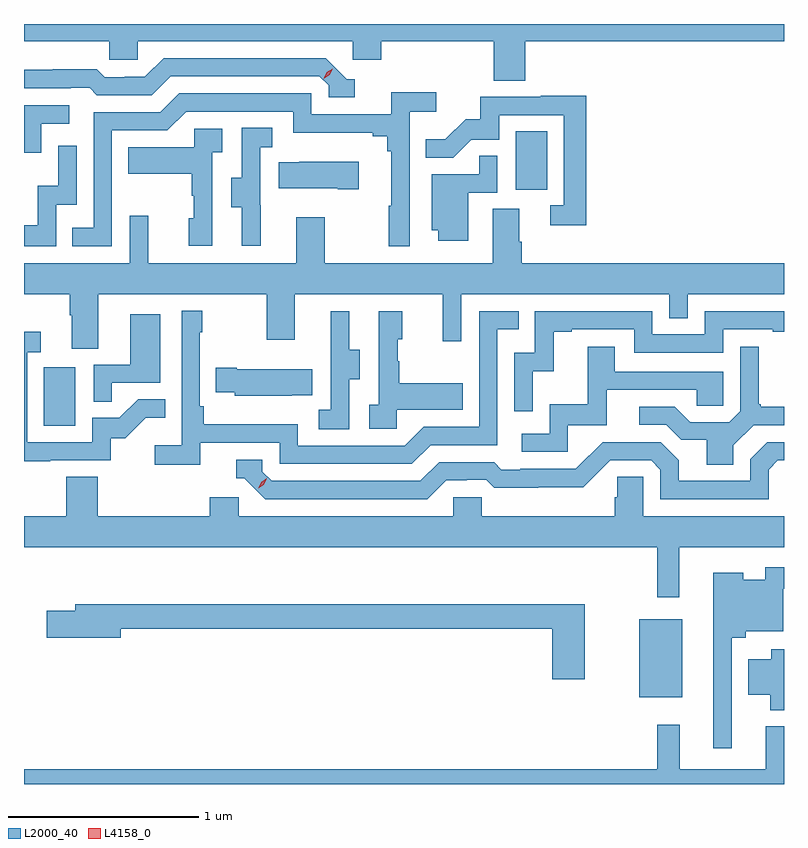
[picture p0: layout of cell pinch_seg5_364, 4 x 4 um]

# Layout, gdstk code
import gdstk
lib = gdstk.Library(unit=1e-6, precision=1e-09)
def R(c, l, rs):  # rectangles x0, y0, x1, y1
    for r in rs: c.add(gdstk.rectangle(r[:2], r[2:], *l))
def P(c, l, *ps):  # polygons
    for p in ps: c.add(gdstk.Polygon(p, *l))
L2000_40 = (2000, 40)
L4158_0 = (4158, 0)

pinch_seg5_364 = lib.new_cell('pinch_seg5_364')
R(pinch_seg5_364, L2000_40, [(1014.716,878.615,1014.943,879.025), (1011.584,880.044,1011.748,880.351), (1014.068,881.286,1014.232,881.593)])
P(pinch_seg5_364, L2000_40, [(1014.116,882.068),(1015.479,882.068),(1015.479,882.158),(1011.479,882.158),(1011.479,882.068),(1011.927,882.068),(1011.927,881.97),(1012.077,881.97),(1012.077,882.068),(1013.208,882.068),(1013.208,881.97),(1013.36,881.97),(1013.36,882.068),(1013.951,882.068),(1013.951,881.86),(1014.116,881.86)],
  [(1013.221,881.868),(1013.178,881.868),(1013.067,881.979),(1012.214,881.979),(1012.115,881.88),(1012.008,881.88),(1012.008,881.877),(1011.905,881.877),(1011.863,881.92),(1011.63,881.92),(1011.63,881.917),(1011.479,881.917),(1011.479,881.82),(1011.725,881.82),(1011.725,881.823),(1011.824,881.823),(1011.863,881.784),(1012.152,881.784),(1012.251,881.883),(1013.034,881.883),(1013.082,881.835),(1013.082,881.772),(1013.221,881.772)],
  [(1011.942,881.598),(1012.233,881.598),(1012.332,881.697),(1012.896,881.697),(1012.896,881.585),(1013.315,881.585),(1013.315,881.566),(1013.392,881.566),(1013.392,881.489),(1013.411,881.489),(1013.411,881.201),(1013.4,881.201),(1013.4,880.989),(1013.508,880.989),(1013.508,881.696),(1013.65,881.696),(1013.65,881.798),(1013.411,881.798),(1013.411,881.682),(1012.992,881.682),(1012.992,881.793),(1012.295,881.793),(1012.196,881.694),(1011.846,881.694),(1011.846,881.085),(1011.733,881.085),(1011.733,880.989),(1011.942,880.989)],
  [(1014.437,881.78),(1014.199,881.78),(1014.199,881.775),(1013.881,881.775),(1013.881,881.658),(1013.804,881.658),(1013.697,881.551),(1013.593,881.551),(1013.593,881.453),(1013.737,881.453),(1013.834,881.55),(1013.979,881.55),(1013.979,881.679),(1014.321,881.679),(1014.321,881.205),(1014.249,881.205),(1014.249,881.1),(1014.437,881.1)],
  [(1011.57,881.634),(1011.718,881.634),(1011.718,881.73),(1011.479,881.73),(1011.479,881.481),(1011.57,881.481)],
  [(1012.724,881.205),(1012.722,881.205),(1012.722,881.509),(1012.786,881.509),(1012.786,881.612),(1012.626,881.612),(1012.626,881.349),(1012.571,881.349),(1012.571,881.194),(1012.625,881.194),(1012.625,880.992),(1012.724,880.992)],
  [(1012.47,881.483),(1012.522,881.483),(1012.522,881.607),(1012.374,881.607),(1012.374,881.509),(1012.027,881.509),(1012.027,881.369),(1012.362,881.369),(1012.362,881.255),(1012.372,881.255),(1012.372,881.136),(1012.346,881.136),(1012.346,880.992),(1012.47,880.992)],
  [(1011.648,881.208),(1011.756,881.208),(1011.756,881.518),(1011.66,881.518),(1011.66,881.306),(1011.551,881.306),(1011.551,881.098),(1011.479,881.098),(1011.479,880.989),(1011.648,880.989)],
  [(1013.818,881.271),(1013.97,881.271),(1013.97,881.465),(1013.875,881.465),(1013.875,881.367),(1013.624,881.367),(1013.624,881.072),(1013.66,881.072),(1013.66,881.016),(1013.818,881.016)],
  [(1013.242,881.434),(1012.927,881.434),(1012.927,881.431),(1012.819,881.431),(1012.819,881.294),(1013.129,881.294),(1013.129,881.287),(1013.242,881.287)],
  [(1011.871,880.736),(1012.756,880.736),(1012.756,880.497),(1012.903,880.497),(1012.903,880.736),(1013.684,880.736),(1013.684,880.488),(1013.781,880.488),(1013.781,880.736),(1014.876,880.736),(1014.876,880.609),(1014.972,880.609),(1014.972,880.736),(1015.479,880.736),(1015.479,880.9),(1014.098,880.9),(1014.098,881.012),(1014.085,881.012),(1014.085,881.186),(1013.945,881.186),(1013.945,880.9),(1013.061,880.9),(1013.061,881.14),(1012.913,881.14),(1012.913,880.9),(1012.133,880.9),(1012.133,881.149),(1012.035,881.149),(1012.035,880.9),(1011.479,880.9),(1011.479,880.736),(1011.719,880.736),(1011.719,880.624),(1011.731,880.624),(1011.731,880.45),(1011.871,880.45)],
  [(1012.406,879.954),(1012.824,879.954),(1012.824,879.843),(1013.521,879.843),(1013.62,879.942),(1013.97,879.942),(1013.97,880.551),(1014.083,880.551),(1014.083,880.647),(1013.874,880.647),(1013.874,880.038),(1013.583,880.038),(1013.484,879.939),(1012.92,879.939),(1012.92,880.051),(1012.424,880.051),(1012.424,880.147),(1012.404,880.147),(1012.404,880.535),(1012.417,880.535),(1012.417,880.648),(1012.308,880.648),(1012.308,879.94),(1012.167,879.94),(1012.167,879.838),(1012.406,879.838)],
  [(1014.156,880.331),(1014.266,880.331),(1014.266,880.539),(1014.361,880.539),(1014.361,880.551),(1014.69,880.551),(1014.69,880.428),(1015.158,880.428),(1015.158,880.551),(1015.421,880.551),(1015.421,880.539),(1015.479,880.539),(1015.479,880.647),(1015.062,880.647),(1015.062,880.524),(1014.786,880.524),(1014.786,880.647),(1014.168,880.647),(1014.168,880.428),(1014.06,880.428),(1014.06,880.119),(1014.156,880.119)],
  [(1013.442,880.127),(1013.789,880.127),(1013.789,880.267),(1013.455,880.267),(1013.455,880.382),(1013.445,880.382),(1013.445,880.5),(1013.47,880.5),(1013.47,880.645),(1013.346,880.645),(1013.346,880.154),(1013.295,880.154),(1013.295,880.029),(1013.442,880.029)],
  [(1013.19,880.288),(1013.245,880.288),(1013.245,880.443),(1013.191,880.443),(1013.191,880.645),(1013.093,880.645),(1013.093,880.431),(1013.094,880.431),(1013.094,880.127),(1013.031,880.127),(1013.031,880.024),(1013.19,880.024)],
  [(1011.941,880.269),(1012.195,880.269),(1012.195,880.63),(1012.037,880.63),(1012.037,880.365),(1011.846,880.365),(1011.846,880.171),(1011.941,880.171)],
  [(1011.617,879.861),(1011.936,879.861),(1011.936,879.978),(1012.012,879.978),(1012.119,880.085),(1012.223,880.085),(1012.223,880.184),(1012.079,880.184),(1011.981,880.086),(1011.837,880.086),(1011.837,879.957),(1011.495,879.957),(1011.495,880.431),(1011.568,880.431),(1011.568,880.537),(1011.479,880.537),(1011.479,879.856),(1011.617,879.856)],
  [(1014.342,880.047),(1014.547,880.047),(1014.547,880.233),(1015.021,880.233),(1015.021,880.149),(1015.158,880.149),(1015.158,880.329),(1014.589,880.329),(1014.589,880.459),(1014.445,880.459),(1014.445,880.156),(1014.246,880.156),(1014.246,880.002),(1014.099,880.002),(1014.099,879.906),(1014.342,879.906)],
  [(1015.213,879.94),(1015.32,880.047),(1015.479,880.047),(1015.479,880.144),(1015.357,880.144),(1015.357,880.156),(1015.345,880.156),(1015.345,880.459),(1015.248,880.459),(1015.248,880.119),(1015.191,880.062),(1014.985,880.062),(1014.904,880.143),(1014.717,880.143),(1014.717,880.05),(1014.858,880.05),(1014.938,879.97),(1015.073,879.97),(1015.073,879.838),(1015.213,879.838)],
  [(1012.889,880.205),(1012.997,880.205),(1012.997,880.342),(1012.6,880.342),(1012.6,880.35),(1012.489,880.35),(1012.489,880.22),(1012.587,880.22),(1012.587,880.202),(1012.889,880.202)],
  [(1013.701,879.756),(1013.808,879.756),(1013.808,879.759),(1013.911,879.759),(1013.953,879.717),(1014.186,879.717),(1014.186,879.719),(1014.422,879.719),(1014.564,879.861),(1014.78,879.861),(1014.828,879.813),(1014.828,879.657),(1015.398,879.657),(1015.398,879.813),(1015.446,879.861),(1015.479,879.861),(1015.479,879.957),(1015.392,879.957),(1015.302,879.867),(1015.302,879.753),(1014.925,879.753),(1014.925,879.863),(1014.831,879.957),(1014.525,879.957),(1014.384,879.816),(1014.091,879.816),(1014.091,879.813),(1013.992,879.813),(1013.953,879.852),(1013.664,879.852),(1013.565,879.753),(1012.782,879.753),(1012.734,879.801),(1012.734,879.864),(1012.595,879.864),(1012.595,879.768),(1012.638,879.768),(1012.749,879.657),(1013.602,879.657)],
  [(1014.928,879.404),(1015.479,879.404),(1015.479,879.568),(1014.738,879.568),(1014.738,879.776),(1014.601,879.776),(1014.601,879.666),(1014.587,879.666),(1014.587,879.568),(1013.889,879.568),(1013.889,879.666),(1013.739,879.666),(1013.739,879.568),(1012.608,879.568),(1012.608,879.666),(1012.457,879.666),(1012.457,879.568),(1011.866,879.568),(1011.866,879.776),(1011.701,879.776),(1011.701,879.568),(1011.479,879.568),(1011.479,879.404),(1014.811,879.404),(1014.811,879.141),(1014.928,879.141)],
  [(1015.203,878.927),(1015.277,878.927),(1015.277,878.963),(1015.476,878.963),(1015.476,879.185),(1015.479,879.185),(1015.479,879.298),(1015.38,879.298),(1015.38,879.232),(1015.264,879.232),(1015.264,879.271),(1015.106,879.271),(1015.106,878.346),(1015.203,878.346)],
  [(1014.43,879.103),(1011.749,879.103),(1011.749,879.069),(1011.6,879.069),(1011.6,878.927),(1011.988,878.927),(1011.988,878.974),(1014.26,878.974),(1014.26,878.709),(1014.43,878.709)],
  [(1015.479,878.868),(1015.412,878.868),(1015.412,878.815),(1015.292,878.815),(1015.292,878.627),(1015.406,878.627),(1015.406,878.546),(1015.479,878.546)],
  [(1015.479,878.461),(1015.382,878.461),(1015.382,878.236),(1014.929,878.236),(1014.929,878.47),(1014.811,878.47),(1014.811,878.236),(1011.479,878.236),(1011.479,878.158),(1015.479,878.158)])
P(pinch_seg5_364, L4158_0, [(1013.056,881.87),(1013.056,881.871),(1013.073,881.903),(1013.104,881.923),(1013.104,881.923),(1013.104,881.922),(1013.088,881.89),(1013.057,881.87)],
  [(1012.712,879.714),(1012.712,879.714),(1012.727,879.747),(1012.757,879.768),(1012.757,879.768),(1012.757,879.768),(1012.742,879.734),(1012.712,879.714)])

lib.write_gds('pinch_seg5_364.gds')
